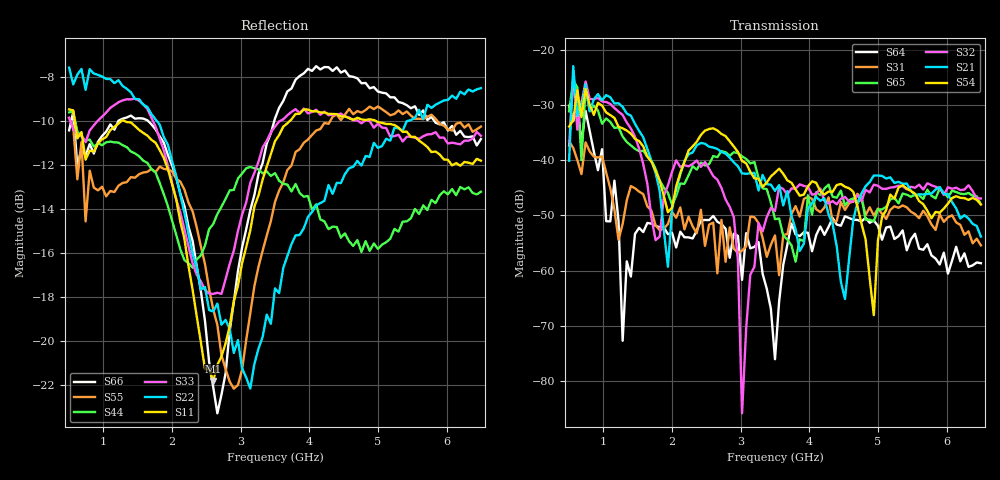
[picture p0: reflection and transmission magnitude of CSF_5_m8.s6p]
!Keysight Technologies,M9804A,MY58100912,A.14.10.03
!Date: Thursday, April 27, 2023 10:28:33
!Correction: S11(C  6-Port  )
!S12(C  6-Port  )
!S13(C  6-Port  )
!S14(C  6-Port  )
!S15(C  6-Port  )
!S16(C  6-Port  )
!S21(C  6-Port  )
!S22(C  6-Port  )
!S23(C  6-Port  )
!S24(C  6-Port  )
!S25(C  6-Port  )
!S26(C  6-Port  )
!S31(C  6-Port  )
!S32(C  6-Port  )
!S33(C  6-Port  )
!S34(C  6-Port  )
!S35(C  6-Port  )
!S36(C  6-Port  )
!S41(C  6-Port  )
!S42(C  6-Port  )
!S43(C  6-Port  )
!S44(C  6-Port  )
!S45(C  6-Port  )
!S46(C  6-Port  )
!S51(C  6-Port  )
!S52(C  6-Port  )
!S53(C  6-Port  )
!S54(C  6-Port  )
!S55(C  6-Port  )
!S56(C  6-Port  )
!S61(C  6-Port  )
!S62(C  6-Port  )
!S63(C  6-Port  )
!S64(C  6-Port  )
!S65(C  6-Port  )
!S66(C  6-Port  )
!S6P File: Measurement: :
# Hz S  RI  R 50
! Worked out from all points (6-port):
!   101 points, 500 MHz to 6.5 GHz, reference 50 ohm
!   strongest paths, dB at 500 MHz, 2 GHz, 3.5 GHz, 5 GHz, 6.5 GHz:
!     S54: -33.9, -48.6, -42.3, -54.5, -48.0
!     S21: -40.1, -48.9, -45.6, -42.8, -53.8
!     S32: -37.4, -42.1, -49.2, -44.7, -46.9
!     S65: -31.1, -48.1, -50.7, -48.9, -48.0
!     S31: -36.6, -49.4, -53.6, -48.8, -55.4
!     S64: -30.1, -53.2, -76.1, -51.9, -58.7
!   lowest |S11| = -21.8 dB at 2.6 GHz (marker M1), VSWR 1.18, Z = 42.7 + j1.9 ohm
!   |S11| at or under -10 dB: 582 MHz to 1.27 GHz (688 MHz wide, 74.3 % of centre); 1.297 GHz to 3.721 GHz (2.424 GHz wide, 96.6 % of centre); 4.958 GHz to end of sweep
